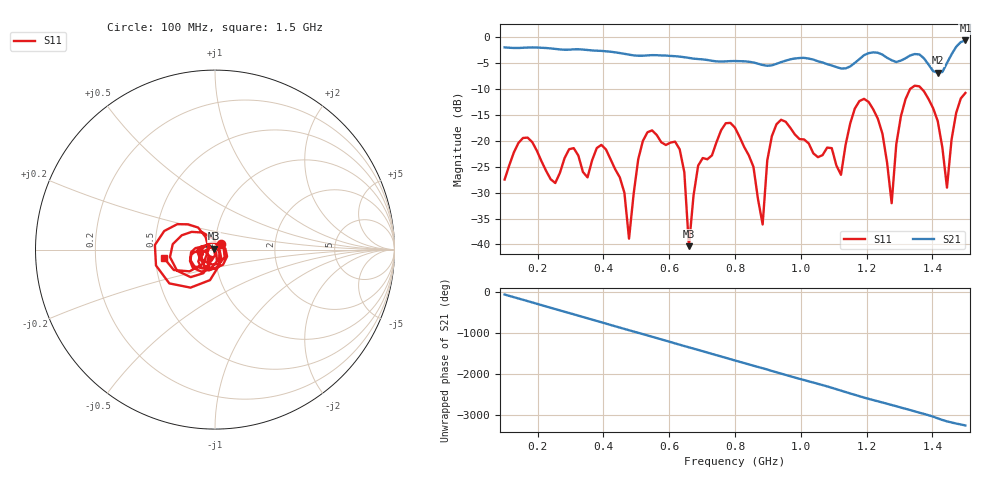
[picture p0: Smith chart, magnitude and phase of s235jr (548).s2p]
! NanoVNA-App
! Date: 2025-09-25 15:08:26
! Start: 100MHz Stop: 1,5GHz Points: 101
! S-Parameter data: F S11 S21 S12 S22
# Hz S RI R 50
!  Frequency  S11_Real  S11_Imag  S21_Real  S21_Imag  S12_Real  S12_Imag  S22_Real  S22_Imag
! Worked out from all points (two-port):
!   101 points, 100 MHz to 1.5 GHz, reference 50 ohm
!   highest |S21| = -0.63 dB at 1.5 GHz (marker M1); lowest = -6.9 dB at 1.416 GHz (marker M2)
!   |S21| within 3 dB of the highest: start of sweep to 607.4 MHz; 1.189 GHz to 1.254 GHz (64.88 MHz wide, 5.31 % of centre) (the widest 2 of 4)
!   lowest |S11| = -40.3 dB at 660 MHz (marker M3), VSWR 1.02, Z = 49.2 + j0.551 ohm
!   |S11| at or under -10 dB: start of sweep to 1.332 GHz; 1.368 GHz to end of sweep
!   S12 and S22 are empty: the file has one direction only
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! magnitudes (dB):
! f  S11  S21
! 100 MHz  -27.5  -2.0
! 156 MHz  -19.4  -2.0
! 338 MHz  -26.0  -2.4
! 408 MHz  -21.7  -2.7
! 478 MHz  -38.9  -3.4
! 520 MHz  -20.0  -3.6
! 576 MHz  -20.3  -3.5
! 632 MHz  -21.6  -3.7
! 660 MHz  -40.3  -4.0
! 688 MHz  -24.8  -4.2
! 800 MHz  -17.5  -4.6
! 884 MHz  -36.1  -5.4
! 926 MHz  -16.8  -5.1
! 1.038 GHz  -22.4  -4.3
! 1.122 GHz  -26.6  -6.0
! 1.192 GHz  -11.9  -3.5
! 1.248 GHz  -18.6  -3.4
! 1.276 GHz  -32.0  -4.4
! 1.332 GHz  -10.0  -3.5
! 1.416 GHz  -16.2  -6.9
! 1.444 GHz  -29.0  -5.0
! 1.5 GHz  -10.8  -0.6
